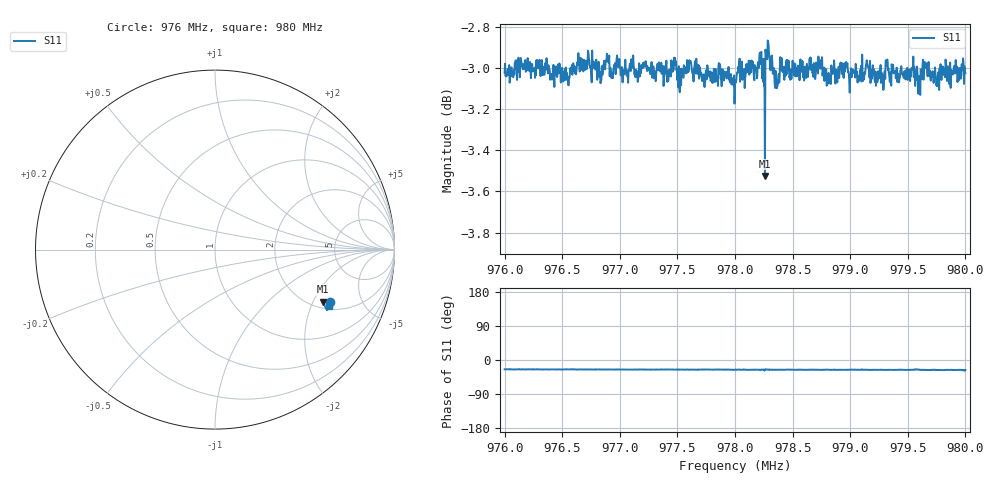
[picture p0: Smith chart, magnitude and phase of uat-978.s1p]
! Calibrated averaged scanner-service zoom
# Hz S RI R 50
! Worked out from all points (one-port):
!   1001 points, 976 MHz to 980 MHz, reference 50 ohm
!   lowest |S11| = -3.5 dB at 978.26 MHz (marker M1), VSWR 5.00, Z = 114 - j119 ohm
!   |S11| at or under -10 dB: nowhere
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9.76e8  0.6423 -0.2933
9.765e8  0.6414 -0.2997
9.77e8  0.6414 -0.3001
9.77068e8  0.6373 -0.3057
9.77176e8  0.6382 -0.2986
9.775e8  0.6364 -0.2989
9.77664e8  0.6432 -0.3045
9.77736e8  0.6348 -0.296
9.78e8  0.6329 -0.3035
9.7804e8  0.6406 -0.3099
9.78236e8  0.635 -0.3034
9.7826e8  0.6004 -0.2892
9.78284e8  0.6508 -0.3054
9.78316e8  0.6391 -0.3115
9.78364e8  0.631 -0.3028
9.785e8  0.6417 -0.3059
9.7874e8  0.6352 -0.3118
9.78788e8  0.6384 -0.304
9.78952e8  0.6367 -0.3061
9.79e8  0.6363 -0.3027
9.79164e8  0.6361 -0.3091
9.795e8  0.6314 -0.3095
9.79576e8  0.6434 -0.2925
9.79664e8  0.6364 -0.3115
9.79736e8  0.6353 -0.3129
9.798e8  0.6317 -0.3171
9.79856e8  0.6356 -0.3111
9.8e8  0.6325 -0.3134
